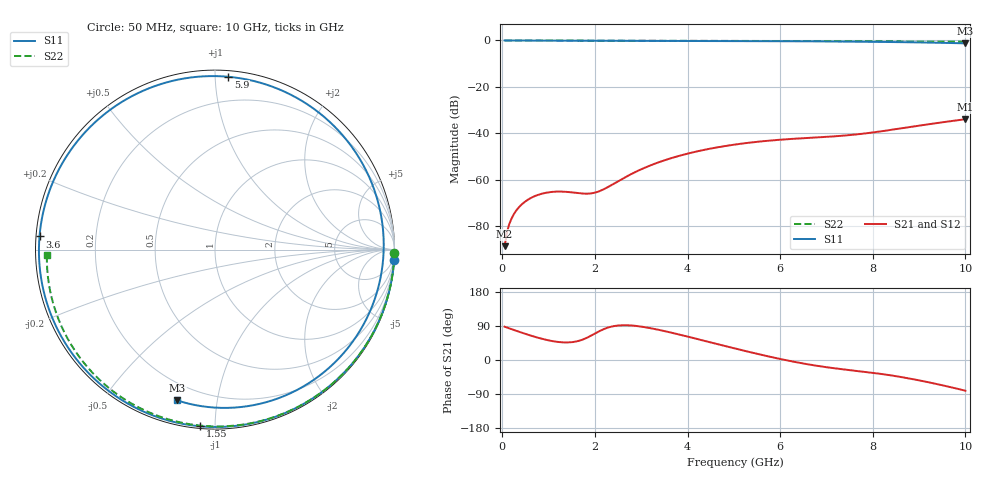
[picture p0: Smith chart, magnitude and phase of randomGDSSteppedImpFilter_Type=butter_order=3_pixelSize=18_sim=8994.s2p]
! freq	dB(S11)	phase(S11)	dB(S12)	phase(S12)
!  dB(S21)	phase(S21)	dB(S22)	phase(S22)
!S-par simulation data
#  GHz  S  DB  R 50
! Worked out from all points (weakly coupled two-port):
!   200 points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, 50 MHz to 10 GHz, reference 50 ohm
!   highest |S21| = -33.95 dB at 10 GHz (marker M1); lowest = -88.7 dB at 50 MHz (marker M2)
!   lowest |S11| = -1.2 dB at 10 GHz (marker M3), VSWR 13.94, Z = 5.76 - j38.7 ohm
!   |S11| at or under -10 dB: nowhere
!   |S22| runs from -0.6 to 0.0 dB; largest |S21 - S12| = 0
!   S11 on the Smith chart (normalised r, x): 50 MHz: 0, -34; 1.55 GHz: 0.01, -0.92; 3.6 GHz: 0.01, +0.04; 5.9 GHz: 0.04, +1.08; 10 GHz: 0.12, -0.77
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0.05  -0.00 -3.4  -88.69 87.8  -88.69 87.8  -0.00 -1.1
0.15  -0.01 -10.1  -79.20 83.5  -79.20 83.5  -0.00 -3.2
0.25  -0.02 -16.7  -74.87 79.2  -74.87 79.2  -0.01 -5.3
0.4  -0.04 -26.5  -71.06 72.9  -71.06 72.9  -0.01 -8.4
0.65  -0.05 -42.6  -67.58 63.1  -67.58 63.1  -0.02 -13.6
1.1  -0.08 -70.0  -65.24 49.5  -65.24 49.5  -0.03 -23.0
1.55  -0.11 -94.9  -65.61 47.8  -65.61 47.8  -0.04 -32.2
1.75  -0.11 -105.1  -66.02 54.6  -66.02 54.6  -0.05 -36.3
2.1  -0.12 -122.1  -64.95 76.3  -64.95 76.3  -0.06 -43.3
2.55  -0.14 -142.1  -60.13 91.5  -60.13 91.5  -0.07 -52.1
3.4  -0.16 -176.6  -52.36 79.0  -52.36 79.0  -0.09 -68.3
3.6  -0.17 175.7  -51.04 73.6  -51.04 73.6  -0.10 -72.1
4.3  -0.20 149.1  -47.41 52.6  -47.41 52.6  -0.12 -84.8
5.05  -0.24 120.2  -44.80 29.6  -44.80 29.6  -0.15 -97.8
5.9  -0.30 85.6  -42.96 5.3  -42.96 5.3  -0.19 -112.1
6.7  -0.38 50.6  -41.91 -13.5  -41.91 -13.5  -0.24 -125.2
7.55  -0.50 11.2  -40.71 -27.4  -40.71 -27.4  -0.31 -138.8
7.95  -0.57 -7.8  -39.80 -33.1  -39.80 -33.1  -0.34 -145.1
8.35  -0.66 -26.8  -38.68 -39.8  -38.68 -39.8  -0.38 -151.4
9.2  -0.91 -66.8  -36.14 -58.7  -36.14 -58.7  -0.47 -165.1
9.6  -1.07 -85.4  -35.01 -69.4  -35.01 -69.4  -0.51 -171.6
10  -1.25 -104.0  -33.95 -81.0  -33.95 -81.0  -0.56 -178.2
